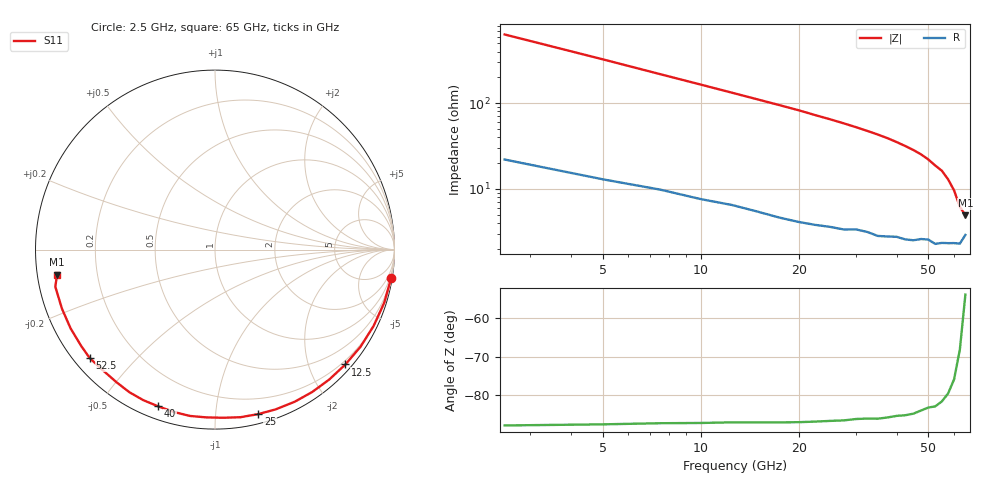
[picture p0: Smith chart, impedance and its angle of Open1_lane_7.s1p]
! File created by SignalIntegrity v1.5.1: Signal and Power Integrity Tools
! https://github.com/Nubis-Communications/SignalIntegrity
# MHz S MA R 50.0
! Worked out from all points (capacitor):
!   26 points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, 2.5 GHz to 65 GHz, reference 50 ohm
!   read as one part to ground: C = 97.8 fF near 2.5 GHz
!   lowest |Z| = 4.89 ohm at 65 GHz (marker M1)
!   S11 on the Smith chart (normalised r, x): 2.5 GHz: 0, -13; 12.5 GHz: 0.13, -2.64; 25 GHz: 0.07, -1.29; 40 GHz: 0.05, -0.70; 52.5 GHz: 0.05, -0.37; 65 GHz: 0.06, -0.08
2500  0.9946 -9.0
5000  0.9882 -17.4
7500  0.9807 -25.7
10000  0.9748 -33.7
12500  0.9682 -41.3
15000  0.9639 -48.7
17500  0.9606 -55.6
20000  0.957 -62.3
22500  0.9523 -69.1
25000  0.9477 -75.3
27500  0.9446 -81.3
30000  0.9379 -87.2
32500  0.9361 -93.0
35000  0.9372 -98.6
37500  0.9332 -104.1
40000  0.9289 -109.9
42500  0.9291 -115.5
45000  0.9268 -120.9
47500  0.9205 -126.5
50000  0.9177 -132.6
52500  0.9232 -139.1
55000  0.9188 -144.2
57500  0.9165 -151.4
60000  0.914 -158.9
62500  0.9134 -166.9
65000  0.8913 -170.9
